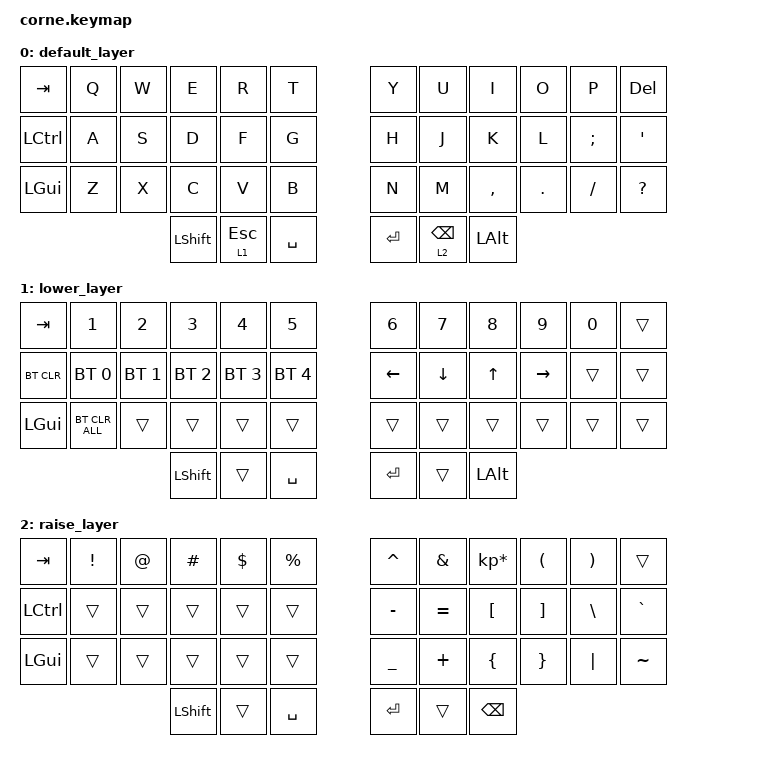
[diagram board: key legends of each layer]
/*
 * Copyright (c) 2020 The ZMK Contributors
 *
 * SPDX-License-Identifier: MIT
 */

#include <behaviors.dtsi>
#include <dt-bindings/zmk/keys.h>
#include <dt-bindings/zmk/bt.h>

&lt {
	tapping-term-ms = <150>;
};

/ {
        keymap {
                compatible = "zmk,keymap";

                default_layer {
// -----------------------------------------------------------------------------------------
// |  TAB |  Q  |  W  |  E  |  R  |  T  |   |  Y  |  U   |  I   |  O  |  P  | DEL	 |
// | CTRL |  A  |  S  |  D  |  F  |  G  |   |  H  |  J   |  K   |  L  |  ;  |  '   |
// | GUI  |  Z  |  X  |  C  |  V  |  B  |   |  N  |  M   |  ,   |  .  |  /  | QUESTION |
//                    | SHFT| LWR/ESC | SPC |   | ENT | RSE/BSPC  | LALT |
                        bindings = <
   &kp TAB   &kp Q &kp W &kp E &kp R &kp T   &kp Y &kp U  &kp I     &kp O   &kp P    &kp DEL 
   &kp LCTRL &kp A &kp S &kp D &kp F &kp G   &kp H &kp J  &kp K     &kp L   &kp SEMI &kp SQT
   &kp LGUI &kp Z &kp X &kp C &kp V &kp B   &kp N &kp M  &kp COMMA &kp DOT &kp FSLH &kp QMARK
                  &kp LSHFT &lt 1 ESC &kp SPACE   &kp RET &lt 2 BSPC &kp LALT 
                        >;
                };
                lower_layer {
// -----------------------------------------------------------------------------------------
// |  TAB |  1  |  2  |  3  |  4  |  5  |   |  6  |  7  |  8  |  9  |  0  | 		|
// | BTCLR| BT1 | BT2 | BT3 | BT4 | BT5 |   | LFT | DWN |  UP | RGT |     |     |
// | SHFT | BTCALL |  |     |     |     |   |     |     |     |     |     |     |
//                    | GUI |     | SPC |   | ENT |     | LALT|
                        bindings = <
   &kp TAB    &kp N1       &kp N2       &kp N3       &kp N4       &kp N5         &kp N6   &kp N7   &kp N8 &kp N9    &kp N0 &trans
   &bt BT_CLR &bt BT_SEL 0 &bt BT_SEL 1 &bt BT_SEL 2 &bt BT_SEL 3 &bt BT_SEL 4   &kp LEFT &kp DOWN &kp UP &kp RIGHT &trans &trans
   &kp LGUI &bt BT_CLR_ALL &trans       &trans       &trans       &trans         &trans   &trans   &trans &trans    &trans &trans
                                    &kp LSHFT &trans       &kp SPACE      &kp RET  &trans   &kp LALT 
                        >;
                };

                raise_layer {
// -----------------------------------------------------------------------------------------
// |  TAB |  !  |  @  |  #  |  $  |  %  |   |  ^  |  &  |  *  |  (  |  )  | 		 |
// | CTRL |     |     |     |     |     |   |  -  |  =  |  [  |  ]  |  \  |  `   |
// | GUI  |     |     |     |     |     |   |  _  |  +  |  {  |  }  | "|" |  ~   |
//                    | SHFT|     | SPC |   | ENT |     | BSPC|
                        bindings = <
   &kp  TAB  &kp EXCL &kp AT &kp HASH &kp DLLR &kp PRCNT   &kp CARET &kp AMPS  &kp KP_MULTIPLY &kp LPAR &kp RPAR &trans 
   &kp LCTRL &trans   &trans &trans   &trans   &trans      &kp MINUS &kp EQUAL &kp LBKT        &kp RBKT &kp BSLH &kp GRAVE
   &kp LGUI &trans   &trans &trans   &trans   &trans      &kp UNDER &kp PLUS  &kp LBRC        &kp RBRC &kp PIPE &kp TILDE
                             &kp LSHFT &trans   &kp SPACE   &kp RET   &trans    &kp BSPC
                        >;
                };
        };
};
